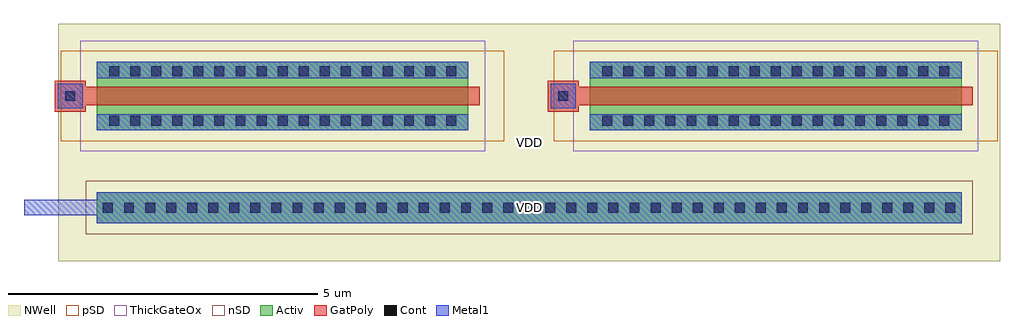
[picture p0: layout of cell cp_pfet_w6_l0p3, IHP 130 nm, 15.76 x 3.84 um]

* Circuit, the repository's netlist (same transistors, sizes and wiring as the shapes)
* extracted by klt extract --deck sg13cmos5l

* cell cp_pfet_w6_l0p3
* pin VDD
.SUBCKT cp_pfet_w6_l0p3 VDD
* device instance $1 r0 *1 4.3,3.01 pfet
X$1 \$6 \$2 \$3 VDD sg13_hv_pmos L=0.3U W=6U AS=2.4P AD=2.4P PS=12.8U PD=12.8U
* device instance $2 r0 *1 12.26,3.01 pfet
X$2 \$7 \$4 \$5 VDD sg13_hv_pmos L=0.3U W=6U AS=2.4P AD=2.4P PS=12.8U PD=12.8U
.ENDS cp_pfet_w6_l0p3

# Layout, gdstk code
import gdstk
lib = gdstk.Library(unit=1e-6, precision=1e-09)
def R(c, l, rs):  # rectangles x0, y0, x1, y1
    for r in rs: c.add(gdstk.rectangle(r[:2], r[2:], *l))
def A(c, l, x, y, w, h, nx, ny, dx, dy):  # array of equal rectangles
    R(c, l, [(x+i*dx, y+j*dy, x+i*dx+w, y+j*dy+h) for i in range(nx) for j in range(ny)])
Activ = (1, 0)
GatPoly = (5, 0)
Cont = (6, 0)
nSD = (7, 0)
Metal1 = (8, 0)
pSD = (14, 0)
NWell = (31, 0)
ThickGateOx = (44, 0)

cp_pfet_w6_l0p3 = lib.new_cell('cp_pfet_w6_l0p3')
R(cp_pfet_w6_l0p3, Activ, [(1.3,0.96,15.26,1.46), (1.3,2.46,7.3,3.56), (9.26,2.46,15.26,3.56)])
R(cp_pfet_w6_l0p3, GatPoly, [(0.62,2.76,1.12,3.26), (8.58,2.76,9.08,3.26), (1.12,2.86,7.48,3.16), (9.08,2.86,15.44,3.16)])
A(cp_pfet_w6_l0p3, Cont, 1.4, 1.13, 0.16, 0.16, 41, 1, 0.34, 0)
A(cp_pfet_w6_l0p3, Cont, 1.5, 2.53, 0.16, 0.16, 17, 2, 0.34, 0.8)
A(cp_pfet_w6_l0p3, Cont, 9.46, 2.53, 0.16, 0.16, 17, 2, 0.34, 0.8)
R(cp_pfet_w6_l0p3, Cont, [(0.79,2.93,0.95,3.09), (8.75,2.93,8.91,3.09)])
R(cp_pfet_w6_l0p3, nSD, [(1.12,0.78,15.44,1.64)])
R(cp_pfet_w6_l0p3, Metal1, [(1.3,0.96,15.26,1.46), (0.125,1.085,1.3,1.335), (1.3,2.46,7.3,2.72), (9.26,2.46,15.26,2.72), (0.67,2.81,1.07,3.21), (8.63,2.81,9.03,3.21), (1.3,3.3,7.3,3.56), (9.26,3.3,15.26,3.56)])
R(cp_pfet_w6_l0p3, pSD, [(0.72,2.28,7.88,3.74), (8.68,2.28,15.84,3.74)])
R(cp_pfet_w6_l0p3, NWell, [(0.68,0.34,15.88,4.18)])
R(cp_pfet_w6_l0p3, ThickGateOx, [(1.03,2.12,7.57,3.9), (8.99,2.12,15.53,3.9)])
cp_pfet_w6_l0p3.add(gdstk.Label('VDD', (8.28,1.21), layer=8, texttype=2))
cp_pfet_w6_l0p3.add(gdstk.Label('VDD', (8.28,2.26), layer=31, texttype=2))

lib.write_gds('cp_pfet_w6_l0p3.gds')
